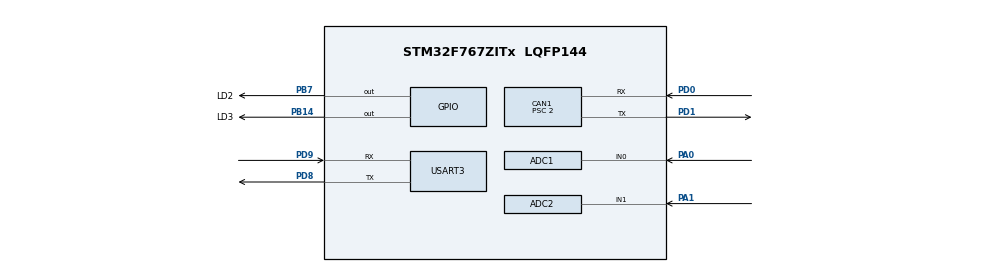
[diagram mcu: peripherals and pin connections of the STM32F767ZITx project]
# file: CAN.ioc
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ADC1.Channel-0\#ChannelRegularConversion=ADC_CHANNEL_0
ADC1.NbrOfConversionFlag=1
ADC1.Rank-0\#ChannelRegularConversion=1
ADC1.SamplingTime-0\#ChannelRegularConversion=ADC_SAMPLETIME_3CYCLES
ADC1.master=1
ADC2.Channel-0\#ChannelRegularConversion=ADC_CHANNEL_1
ADC2.NbrOfConversionFlag=1
ADC2.Rank-0\#ChannelRegularConversion=1
ADC2.SamplingTime-0\#ChannelRegularConversion=ADC_SAMPLETIME_3CYCLES
CAN1.BS1=CAN_BS1_13TQ
CAN1.BS2=CAN_BS2_2TQ
CAN1.CalculateBaudRate=500000
CAN1.CalculateTimeBit=2000
CAN1.CalculateTimeQuantum=125.0
CAN1.Mode=CAN_MODE_NORMAL
CAN1.Prescaler=2
Mcu.Family=STM32F7
Mcu.Name=STM32F767ZITx
Mcu.Package=LQFP144
NVIC.CAN1_RX0_IRQn=true\:0\:0\:false\:false\:true\:true\:true\:true
NVIC.CAN1_TX_IRQn=true\:0\:0\:false\:false\:true\:true\:true\:true
NVIC.PriorityGroup=NVIC_PRIORITYGROUP_4
NVIC.TIM2_IRQn=true\:0\:0\:false\:false\:true\:true\:true\:true
PA0/WKUP.Signal=ADCx_IN0
PA1.Signal=ADCx_IN1
PB14.GPIO_Label=LD3
PB14.Signal=GPIO_Output
PB7.GPIO_Label=LD2
PB7.Signal=GPIO_Output
PD0.Mode=CAN_Activate
PD0.Signal=CAN1_RX
PD1.Mode=CAN_Activate
PD1.Signal=CAN1_TX
PD8.Mode=Asynchronous
PD8.Signal=USART3_TX
PD9.Mode=Asynchronous
PD9.Signal=USART3_RX
PH0/OSC_IN.Mode=HSE-External-Oscillator
PH0/OSC_IN.Signal=RCC_OSC_IN
PH1/OSC_OUT.Mode=HSE-External-Oscillator
PH1/OSC_OUT.Signal=RCC_OSC_OUT
ProjectManager.HeapSize=0x200
ProjectManager.StackSize=0x400
ProjectManager.TargetToolchain=STM32CubeIDE
RCC.HSE_VALUE=25000000
RCC.HSI_VALUE=16000000
RCC.LSE_VALUE=32768
RCC.PLLM=15
RCC.PLLN=144
RCC.PLLQ=5
RCC.PLLSourceVirtual=RCC_PLLSOURCE_HSE
RCC.USBFreq_Value=48000000
RCC.VCOOutputFreq_Value=240000000
SH.ADCx_IN0.0=ADC1_IN0,IN0
SH.ADCx_IN1.0=ADC2_IN1,IN1
TIM2.AutoReloadPreload=TIM_AUTORELOAD_PRELOAD_ENABLE
TIM2.Period=3200
TIM2.Prescaler=1000
USART3.VirtualMode-Asynchronous=VM_ASYNC
VP_TIM2_VS_ClockSourceINT.Mode=Internal
board=custom

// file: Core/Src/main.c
/* USER CODE BEGIN Header */
/**
 ******************************************************************************
 * @file           : main.c
 * @brief          : Main program body
 ******************************************************************************
 * @attention
 *
 * Copyright (c) 2022 STMicroelectronics.
 * All rights reserved.
 *
 * This software is licensed under terms that can be found in the LICENSE file
 * in the root directory of this software component.
 * If no LICENSE file comes with this software, it is provided AS-IS.
 *
 ******************************************************************************
 */
/* USER CODE END Header */
#include "main.h"

/* USER CODE BEGIN Includes */
#include "string.h"
#include "stdio.h"
#include "uart.h"
#include "printf.h"
#include "canal.h"
#include "controller.h"
#include "CANReceive.h"
/* USER CODE END Includes */

/* USER CODE BEGIN PM */
#define PRECHRG_CONTACTOR_STATUS (0u)
#define HV_POS_CONTACTOR_STATUS  (1u)
#define HV_NEG_CONTACTOR_STATUS  (1u)

/* USER CODE END PM */

ADC_HandleTypeDef hadc1;
ADC_HandleTypeDef hadc2;

CAN_HandleTypeDef hcan1;

TIM_HandleTypeDef htim2;

UART_HandleTypeDef huart3;

/* USER CODE BEGIN PV */

CAN_TxHeaderTypeDef TxHeaderInv1;
CAN_TxHeaderTypeDef TxHeaderInv2;
CAN_TxHeaderTypeDef TxHeaderInv3;
CAN_RxHeaderTypeDef RxHeader;

uint8_t TxInvDcOn[8] = {0b00000000,
					0b00000010, // Set bDcOn
					0b00000000,
					0b00000000,
					0b00000000,
					0b00000000,
					0b00000000,
					0b00000000};

uint8_t TxInvEnable[8] = {0b00000000,
					0b00000110, // Set bEnable
					0b00000000,
					0b00000000,
					0b00000000,
					0b00000000,
					0b00000000,
					0b00000000};

uint8_t TxInvOn[8] = {0b00000000,
					0b00000111, // Set bInverterOn
					0b00000000,
					0b00000000,
					0b00000000,
					0b00000000,
					0b00000000,
					0b00000000};

uint8_t TxResetErr[8] = {0b00000000,
					0b00001111, // Reset error
					0b00000000,
					0b00000000,
					0b00000000,
					0b00000000,
					0b00000000,
					0b00000000};

// uint8_t TxTorqueLimits[8] = {0b00000000,
// 					0b11100000,
// 					0b00000000,  // Target velocity [15:8]
// 					0b00001010,  // Target velocity [7:0]
// 					0b00000000,  // Torque limit positive [15:8]
// 					0b00001010,  // Torque limit positive [7:0]
// 					0b00000000,  // Torque limit negative [15:8]
// 					0b00000000}; // Torque limit negative [7:0]

//uint8_t TxTorqueLimits[8] = {0b00000000,
//					0b00000111,
////					controller_Y.AMK_TargetVelocity >>= 8,  // Target velocity [15:8]
//					0b00000000,
//					controller_Y.AMK_TargetVelocity,  // Target velocity [7:0]
////					controller_Y.AMK_TorqueLimitPositiv >>= 8,  // Torque limit positive [15:8]
//					0b00000000,
//					controller_Y.AMK_TorqueLimitPositiv,  // Torque limit positive [7:0]
//					0b00000000,  // Torque limit negative [15:8]
//					0b00000000}; // Torque limit negative [7:0]

uint8_t RxData[8];
uint32_t TxMailbox;

/* USER CODE END PV */

void SystemClock_Config(void);
static void MX_GPIO_Init(void);
static void MX_CAN1_Init(void);
static void MX_USART3_UART_Init(void);
static void MX_ADC1_Init(void);
static void MX_ADC2_Init(void);
static void MX_TIM2_Init(void);
/* USER CODE BEGIN PFP */
static void CAN_Config(void);
/* USER CODE END PFP */

/* USER CODE BEGIN 0 */

uint32_t accelPedalAdc = 0;
uint32_t breakPedalAdc = 0;
uint32_t counter = 0;

uint16_t vehicleSpeed = 0;
uint16_t motorTorque = 0;

uint16_t AMK0_bSystemReady = 0;
uint16_t AMK0_bError = 0;
uint16_t AMK0_bWarn = 0;
uint16_t AMK0_bQuitDcOn = 0;
uint16_t AMK0_bDcOn = 0;
uint16_t AMK0_bQuitInvertorOn = 0;
uint16_t AMK0_bInverterOn = 0;
uint16_t AMK0_bDerating = 0;
uint16_t AMK0_ActualVelocity = 0;
uint16_t AMK0_TorqueCurrent = 0;
uint16_t AMK0_magnetizingCurrent = 0;

uint16_t AMK1_bSystemReady;
uint16_t AMK1_bError;
uint16_t AMK1_bWarn;
uint16_t AMK1_bQuitDcOn;
uint16_t AMK1_bDcOn;
uint16_t AMK1_bQuitInvertorOn;
uint16_t AMK1_bInverterOn;
uint16_t AMK1_bDerating;
uint16_t AMK1_ActualVelocity;
uint16_t AMK1_TorqueCurrent;
uint16_t AMK1_magnetizingCurrent;

uint16_t AMK0_TempMotor;
uint16_t AMK0_TempInverter;
uint16_t AMK0_ErrorInfo;
uint16_t AMK0_TempIGBT;

uint16_t AMK1_TempMotor;
uint16_t AMK1_TempInverter;
uint16_t AMK1_ErrorInfo;
uint16_t AMK1_TempIGBT;

/* USER CODE END 0 */

int main(void)
{

  /* MCU Configuration--------------------------------------------------------*/

  /* Reset of all peripherals, Initializes the Flash interface and the Systick. */
  HAL_Init();

  /* Configure the system clock */
  SystemClock_Config();

  /* Initialize all configured peripherals */
  MX_GPIO_Init();
  MX_CAN1_Init();
  MX_USART3_UART_Init();
  MX_ADC1_Init();
  MX_ADC2_Init();
  MX_TIM2_Init();
  /* USER CODE BEGIN 2 */
	// Start 0.2s timer interrupt
	HAL_TIM_Base_Start_IT(&htim2);

	UART_st uart3 = {
		.huart = &huart3,
		.bit_position = LSB_First,
		.baudrate = UART_115200,
		.mode = UART_TX_RX,
		.datasize = UART_Datasize_8,
		.uart_num = 3};
	Printf_Init(&uart3);

	CAN_Config();

	if (HAL_CAN_ActivateNotification(&hcan1, CAN_IT_RX_FIFO0_MSG_PENDING) != HAL_OK)
	{
		Error_Handler();
	}

	if (HAL_CAN_ActivateNotification(&hcan1, CAN_IT_TX_MAILBOX_EMPTY) != HAL_OK)
	{
		Error_Handler();
	}

	TxHeaderInv1.DLC = 8;
	TxHeaderInv1.IDE = CAN_ID_STD;
	TxHeaderInv1.RTR = CAN_RTR_DATA;
	TxHeaderInv1.StdId = 0x185; // 0x183 represents AMK setpoints 1
	TxHeaderInv1.TransmitGlobalTime = DISABLE;

	TxHeaderInv2.DLC = 8;
	TxHeaderInv2.IDE = CAN_ID_STD;
	TxHeaderInv2.RTR = CAN_RTR_DATA;
	TxHeaderInv2.StdId = 0x186;
	TxHeaderInv2.TransmitGlobalTime = DISABLE;

	TxHeaderInv3.DLC = 8;
	TxHeaderInv3.IDE = CAN_ID_STD;
	TxHeaderInv3.RTR = CAN_RTR_DATA;
	TxHeaderInv3.StdId = 0x500;
	TxHeaderInv3.TransmitGlobalTime = DISABLE;

	// Init steering and brake angle sensor ADC's
	// TODO: Add 2 more ADC for another accelerator and steering angle sensor
	MX_ADC1_Init();
	MX_ADC2_Init();

	// Spoof battery contactor status values
	controller_U.BM_b_prechrgContactorSts = PRECHRG_CONTACTOR_STATUS;
	controller_U.BM_b_HVposContactorSts = HV_POS_CONTACTOR_STATUS;
	controller_U.BM_b_HVnegContactorSts = HV_NEG_CONTACTOR_STATUS;

	// Spoof steering angle as 0
	controller_U.DI_V_SteeringAngle = 0;

	controller_U.DI_b_DriverButton = true;
	controller_U.AMK_bSystemReady = true;
	controller_U.AMK_bError = false;
	controller_U.AMK_bQuitDcOn = true;
	controller_U.AMK_bDcOn = true;
	controller_U.AMK_bQuitInverterOn = true;
	controller_U.AMK_bInverterOn = true;
	controller_U.AMK_bDerating = false;

	// For testing, do not uncomment these
//	controller_U.AMK_TempMotor = 35;
//	controller_U.AMK_TempInverter = 35;
//	controller_U.AMK_ErrorInfo = 0;
//
//	controller_U.AMK_TempIGBT = 35;
//	controller_U.AMK_ActualVelocity = 10;
//	controller_U.AMK_TorqueCurrent = 10;
//	controller_U.AMK_MagnetizingCurrent = 10;

  /* USER CODE END 2 */

  /* Infinite loop */
  /* USER CODE BEGIN WHILE */
	while (1)
	{

//		 Reset errors
//		for(int i=0; i<250; i++) {
//			HAL_CAN_AddTxMessage(&hcan1, &TxHeaderInv1, TxResetErr, &TxMailbox);
//			HAL_Delay(45);
//		}
		// Get accelerator and brake pedal (ADC) inputs
		HAL_ADC_Start(&hadc1);
		HAL_ADC_PollForConversion(&hadc1, HAL_MAX_DELAY);
		accelPedalAdc = HAL_ADC_GetValue(&hadc1);

		// Send AMK_bDcOn = 1
//		for(int i=0; i<250; i++) {
////			HAL_CAN_AddTxMessage(&hcan1, &TxHeaderInv1, TxInvDcOn, &TxMailbox);
//			HAL_CAN_AddTxMessage(&hcan1, &TxHeaderInv1, TxInvDcOn, &TxMailbox);
//			HAL_Delay(45);
//		}
//
//		// Enable inverter 1
//		for(int i=0; i<250; i++) {
////			HAL_CAN_AddTxMessage(&hcan1, &TxHeaderInv1, TxInvEnable, &TxMailbox);
//			HAL_CAN_AddTxMessage(&hcan1, &TxHeaderInv1, TxInvEnable, &TxMailbox);
//			HAL_Delay(45);
//		}
//
//		// Turn on inverter 1
//		for(int i=0; i<250; i++) {
////			HAL_CAN_AddTxMessage(&hcan1, &TxHeaderInv1, TxInvOn, &TxMailbox);
//			HAL_CAN_AddTxMessage(&hcan1, &TxHeaderInv1, TxInvOn, &TxMailbox);
//			HAL_Delay(45);
//		}
//
//		//Set torque limits to non-zero values
//		for(int i=0; i<250; i++) {
////			HAL_CAN_AddTxMessage(&hcan1, &TxHeaderInv1, TxTorqueLimits, &TxMailbox);
//			HAL_CAN_AddTxMessage(&hcan1, &TxHeaderInv1, TxTorqueLimits, &TxMailbox);
//			HAL_Delay(45);
//		}

		HAL_ADC_Start(&hadc2);
		HAL_ADC_PollForConversion(&hadc2, HAL_MAX_DELAY);
//		accelPedalAdc = HAL_ADC_GetValue(&hadc2);

//		 For testing purposes, we will use the same ADC input for both accelerator pedals
		controller_U.DI_V_AccelPedalPos1 = accelPedalAdc;
		controller_U.DI_V_AccelPedalPos2 = accelPedalAdc;
		controller_U.DI_V_BrakePedalPos = breakPedalAdc;

		uint8_t TxTorqueLimits[8] = {0b00000000,
							0b00000111,
							controller_Y.AMK_TargetVelocity >> 8,  // Target velocity [15:8]
							controller_Y.AMK_TargetVelocity,  // Target velocity [7:0]
							controller_Y.AMK_TorqueLimitPositiv >> 8,  // Torque limit positive [15:8]
							controller_Y.AMK_TorqueLimitPositiv,  // Torque limit positive [7:0]
							0b00000000,  // Torque limit negative [15:8]
							0b00000000}; // Torque limit negative [7:0]

		HAL_CAN_AddTxMessage(&hcan1, &TxHeaderInv1, TxTorqueLimits, &TxMailbox);

		HAL_Delay(45);

	}
    /* USER CODE END WHILE */

}

void SystemClock_Config(void)
{
  RCC_OscInitTypeDef RCC_OscInitStruct = {0};
  RCC_ClkInitTypeDef RCC_ClkInitStruct = {0};

  /** Configure the main internal regulator output voltage
  */
  __HAL_RCC_PWR_CLK_ENABLE();
  __HAL_PWR_VOLTAGESCALING_CONFIG(PWR_REGULATOR_VOLTAGE_SCALE3);

  /** Initializes the RCC Oscillators according to the specified parameters
  * in the RCC_OscInitTypeDef structure.
  */
  RCC_OscInitStruct.OscillatorType = RCC_OSCILLATORTYPE_HSI;
  RCC_OscInitStruct.HSIState = RCC_HSI_ON;
  RCC_OscInitStruct.HSICalibrationValue = RCC_HSICALIBRATION_DEFAULT;
  RCC_OscInitStruct.PLL.PLLState = RCC_PLL_NONE;
  if (HAL_RCC_OscConfig(&RCC_OscInitStruct) != HAL_OK)
  {
    Error_Handler();
  }

  /** Initializes the CPU, AHB and APB buses clocks
  */
  RCC_ClkInitStruct.ClockType = RCC_CLOCKTYPE_HCLK|RCC_CLOCKTYPE_SYSCLK
                              |RCC_CLOCKTYPE_PCLK1|RCC_CLOCKTYPE_PCLK2;
  RCC_ClkInitStruct.SYSCLKSource = RCC_SYSCLKSOURCE_HSI;
  RCC_ClkInitStruct.AHBCLKDivider = RCC_SYSCLK_DIV1;
  RCC_ClkInitStruct.APB1CLKDivider = RCC_HCLK_DIV1;
  RCC_ClkInitStruct.APB2CLKDivider = RCC_HCLK_DIV1;

  if (HAL_RCC_ClockConfig(&RCC_ClkInitStruct, FLASH_LATENCY_0) != HAL_OK)
  {
    Error_Handler();
  }
}

static void MX_ADC1_Init(void)
{

  ADC_ChannelConfTypeDef sConfig = {0};

  /** Configure the global features of the ADC (Clock, Resolution, Data Alignment and number of conversion)
  */
  hadc1.Instance = ADC1;
  hadc1.Init.ClockPrescaler = ADC_CLOCK_SYNC_PCLK_DIV2;
  hadc1.Init.Resolution = ADC_RESOLUTION_12B;
  hadc1.Init.ScanConvMode = ADC_SCAN_DISABLE;
  hadc1.Init.ContinuousConvMode = DISABLE;
  hadc1.Init.DiscontinuousConvMode = DISABLE;
  hadc1.Init.ExternalTrigConvEdge = ADC_EXTERNALTRIGCONVEDGE_NONE;
  hadc1.Init.ExternalTrigConv = ADC_SOFTWARE_START;
  hadc1.Init.DataAlign = ADC_DATAALIGN_RIGHT;
  hadc1.Init.NbrOfConversion = 1;
  hadc1.Init.DMAContinuousRequests = DISABLE;
  hadc1.Init.EOCSelection = ADC_EOC_SINGLE_CONV;
  if (HAL_ADC_Init(&hadc1) != HAL_OK)
  {
    Error_Handler();
  }

  /** Configure for the selected ADC regular channel its corresponding rank in the sequencer and its sample time.
  */
  sConfig.Channel = ADC_CHANNEL_0;
  sConfig.Rank = ADC_REGULAR_RANK_1;
  sConfig.SamplingTime = ADC_SAMPLETIME_3CYCLES;
  if (HAL_ADC_ConfigChannel(&hadc1, &sConfig) != HAL_OK)
  {
    Error_Handler();
  }

}

static void MX_ADC2_Init(void)
{

  ADC_ChannelConfTypeDef sConfig = {0};

  /** Configure the global features of the ADC (Clock, Resolution, Data Alignment and number of conversion)
  */
  hadc2.Instance = ADC2;
  hadc2.Init.ClockPrescaler = ADC_CLOCK_SYNC_PCLK_DIV2;
  hadc2.Init.Resolution = ADC_RESOLUTION_12B;
  hadc2.Init.ScanConvMode = ADC_SCAN_DISABLE;
  hadc2.Init.ContinuousConvMode = DISABLE;
  hadc2.Init.DiscontinuousConvMode = DISABLE;
  hadc2.Init.ExternalTrigConvEdge = ADC_EXTERNALTRIGCONVEDGE_NONE;
  hadc2.Init.ExternalTrigConv = ADC_SOFTWARE_START;
  hadc2.Init.DataAlign = ADC_DATAALIGN_RIGHT;
  hadc2.Init.NbrOfConversion = 1;
  hadc2.Init.DMAContinuousRequests = DISABLE;
  hadc2.Init.EOCSelection = ADC_EOC_SINGLE_CONV;
  if (HAL_ADC_Init(&hadc2) != HAL_OK)
  {
    Error_Handler();
  }

  /** Configure for the selected ADC regular channel its corresponding rank in the sequencer and its sample time.
  */
  sConfig.Channel = ADC_CHANNEL_1;
  sConfig.Rank = ADC_REGULAR_RANK_1;
  sConfig.SamplingTime = ADC_SAMPLETIME_3CYCLES;
  if (HAL_ADC_ConfigChannel(&hadc2, &sConfig) != HAL_OK)
  {
    Error_Handler();
  }

}

static void MX_CAN1_Init(void)
{

  hcan1.Instance = CAN1;
  hcan1.Init.Prescaler = 2;
  hcan1.Init.Mode = CAN_MODE_NORMAL;
  hcan1.Init.SyncJumpWidth = CAN_SJW_1TQ;
  hcan1.Init.TimeSeg1 = CAN_BS1_13TQ;
  hcan1.Init.TimeSeg2 = CAN_BS2_2TQ;
  hcan1.Init.TimeTriggeredMode = DISABLE;
  hcan1.Init.AutoBusOff = DISABLE;
  hcan1.Init.AutoWakeUp = DISABLE;
  hcan1.Init.AutoRetransmission = DISABLE;
  hcan1.Init.ReceiveFifoLocked = DISABLE;
  hcan1.Init.TransmitFifoPriority = DISABLE;
  if (HAL_CAN_Init(&hcan1) != HAL_OK)
  {
    Error_Handler();
  }

}

static void MX_TIM2_Init(void)
{

  TIM_ClockConfigTypeDef sClockSourceConfig = {0};
  TIM_MasterConfigTypeDef sMasterConfig = {0};

  htim2.Instance = TIM2;
  htim2.Init.Prescaler = 1000;
  htim2.Init.CounterMode = TIM_COUNTERMODE_UP;
  htim2.Init.Period = 3200;
  htim2.Init.ClockDivision = TIM_CLOCKDIVISION_DIV1;
  htim2.Init.AutoReloadPreload = TIM_AUTORELOAD_PRELOAD_ENABLE;
  if (HAL_TIM_Base_Init(&htim2) != HAL_OK)
  {
    Error_Handler();
  }
  sClockSourceConfig.ClockSource = TIM_CLOCKSOURCE_INTERNAL;
  if (HAL_TIM_ConfigClockSource(&htim2, &sClockSourceConfig) != HAL_OK)
  {
    Error_Handler();
  }
  sMasterConfig.MasterOutputTrigger = TIM_TRGO_RESET;
  sMasterConfig.MasterSlaveMode = TIM_MASTERSLAVEMODE_DISABLE;
  if (HAL_TIMEx_MasterConfigSynchronization(&htim2, &sMasterConfig) != HAL_OK)
  {
    Error_Handler();
  }

}

static void MX_USART3_UART_Init(void)
{

  huart3.Instance = USART3;
  huart3.Init.BaudRate = 115200;
  huart3.Init.WordLength = UART_WORDLENGTH_8B;
  huart3.Init.StopBits = UART_STOPBITS_1;
  huart3.Init.Parity = UART_PARITY_NONE;
  huart3.Init.Mode = UART_MODE_TX_RX;
  huart3.Init.HwFlowCtl = UART_HWCONTROL_NONE;
  huart3.Init.OverSampling = UART_OVERSAMPLING_16;
  huart3.Init.OneBitSampling = UART_ONE_BIT_SAMPLE_DISABLE;
  huart3.AdvancedInit.AdvFeatureInit = UART_ADVFEATURE_NO_INIT;
  if (HAL_UART_Init(&huart3) != HAL_OK)
  {
    Error_Handler();
  }

}

static void MX_GPIO_Init(void)
{
  GPIO_InitTypeDef GPIO_InitStruct = {0};

  /* GPIO Ports Clock Enable */
  __HAL_RCC_GPIOH_CLK_ENABLE();
  __HAL_RCC_GPIOA_CLK_ENABLE();
  __HAL_RCC_GPIOB_CLK_ENABLE();
  __HAL_RCC_GPIOD_CLK_ENABLE();

  /*Configure GPIO pin Output Level */
  HAL_GPIO_WritePin(GPIOB, LD3_Pin|LD2_Pin, GPIO_PIN_RESET);

  /*Configure GPIO pins : LD3_Pin LD2_Pin */
  GPIO_InitStruct.Pin = LD3_Pin|LD2_Pin;
  GPIO_InitStruct.Mode = GPIO_MODE_OUTPUT_PP;
  GPIO_InitStruct.Pull = GPIO_NOPULL;
  GPIO_InitStruct.Speed = GPIO_SPEED_FREQ_LOW;
  HAL_GPIO_Init(GPIOB, &GPIO_InitStruct);

}

/* USER CODE BEGIN 4 */
static void CAN_Config(void)
{
	CAN_FilterTypeDef sFilterConfig;
	sFilterConfig.FilterBank = 0;
	sFilterConfig.FilterMode = CAN_FILTERMODE_IDMASK;
	sFilterConfig.FilterScale = CAN_FILTERSCALE_32BIT;
	sFilterConfig.FilterIdHigh = 0x0000;
	sFilterConfig.FilterIdLow = 0x0000;
	sFilterConfig.FilterMaskIdHigh = 0x0000;
	sFilterConfig.FilterMaskIdLow = 0x0000;
	sFilterConfig.FilterFIFOAssignment = CAN_RX_FIFO0;
	sFilterConfig.FilterActivation = ENABLE;
	sFilterConfig.SlaveStartFilterBank = 14;

	if (HAL_CAN_ConfigFilter(&hcan1, &sFilterConfig) != HAL_OK)
	{
		/* Filter configuration Error */
		Error_Handler();
	}

	if (HAL_CAN_Start(&hcan1) != HAL_OK)
	{
		/* Start Error */
		Error_Handler();
	}
}

void HAL_CAN_RxFifo0MsgPendingCallback(CAN_HandleTypeDef *hcan)
{
	// Toggle blue on-board LED for debugging
	HAL_GPIO_TogglePin(GPIOB, LD2_Pin);

	// Get Rx message
	if (HAL_CAN_GetRxMessage(&hcan1, CAN_RX_FIFO0, &RxHeader, RxData) != HAL_OK)
	{
		Error_Handler();
	}

	IncomingCANMessageHandler(&RxHeader.StdId, RxData);
}

void HAL_TIM_PeriodElapsedCallback(TIM_HandleTypeDef* htim)
{
	rt_OneStep();
}
/* USER CODE END 4 */

void Error_Handler(void)
{
  /* USER CODE BEGIN Error_Handler_Debug */
	/* User can add his own implementation to report the HAL error return state */
	__disable_irq();
	while (1)
	{
		HAL_GPIO_TogglePin(GPIOB, LD3_Pin);
	}
  /* USER CODE END Error_Handler_Debug */
}
